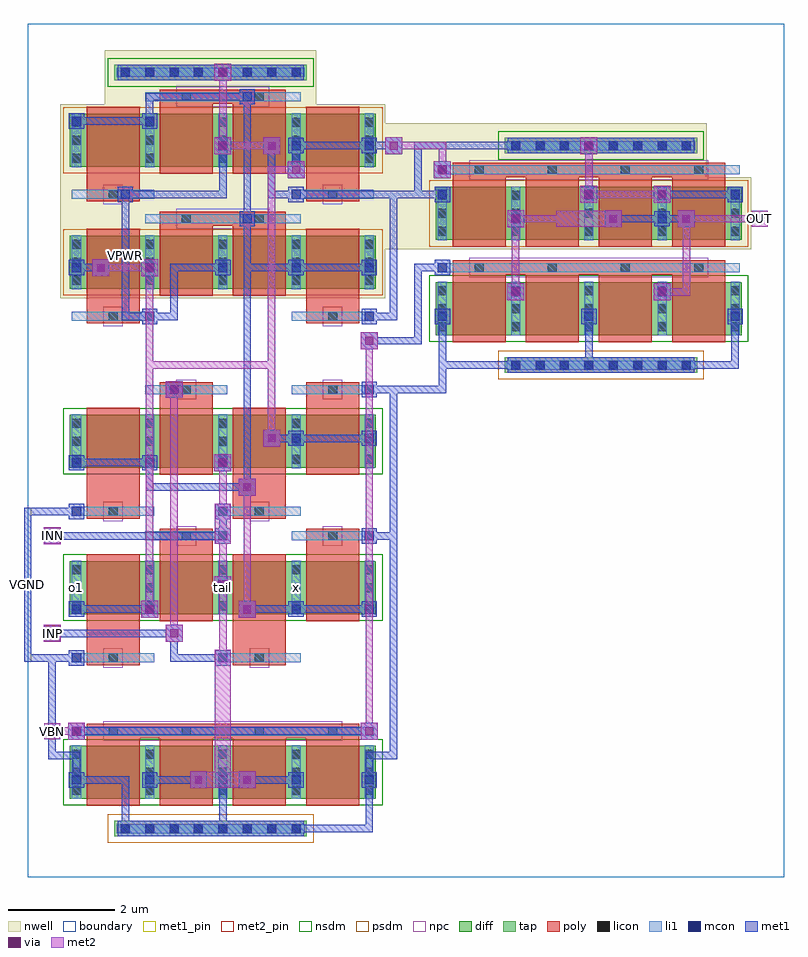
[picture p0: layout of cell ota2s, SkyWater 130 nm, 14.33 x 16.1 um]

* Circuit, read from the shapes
.subckt ota2s INN INP OUT VBN VGND VPWR o1 tail x
XM1 tail VBN VGND VGND sky130_fd_pr__nfet_01v8 w=1 l=1 m=4
XM2 o1 VGND o1 VGND sky130_fd_pr__nfet_01v8 w=1 l=1 m=2
XM3 x VGND x VGND sky130_fd_pr__nfet_01v8 w=1 l=1 m=2
XM4 tail INN o1 VGND sky130_fd_pr__nfet_01v8 w=1 l=1 m=2
XM5 tail INP x VGND sky130_fd_pr__nfet_01v8 w=1 l=1 m=2
XM6 OUT VBN VGND VGND sky130_fd_pr__nfet_01v8 w=1 l=1 m=4
XM7 o1 VPWR o1 VPWR sky130_fd_pr__pfet_01v8 w=1 l=1 m=2
XM8 x VPWR x VPWR sky130_fd_pr__pfet_01v8 w=1 l=1 m=2
XM9 VPWR x o1 VPWR sky130_fd_pr__pfet_01v8 w=1 l=1 m=2
XM10 VPWR x x VPWR sky130_fd_pr__pfet_01v8 w=1 l=1 m=2
XM11 OUT o1 VPWR VPWR sky130_fd_pr__pfet_01v8 w=1 l=1 m=4
.ends

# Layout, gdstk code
import gdstk
lib = gdstk.Library(unit=1e-6, precision=1e-09)
def R(c, l, rs):  # rectangles x0, y0, x1, y1
    for r in rs: c.add(gdstk.rectangle(r[:2], r[2:], *l))
def A(c, l, x, y, w, h, nx, ny, dx, dy):  # array of equal rectangles
    R(c, l, [(x+i*dx, y+j*dy, x+i*dx+w, y+j*dy+h) for i in range(nx) for j in range(ny)])
nwell = (64, 20)
diff = (65, 20)
tap = (65, 44)
poly = (66, 20)
licon = (66, 44)
li1 = (67, 20)
mcon = (67, 44)
met1_pin = (68, 16)
met1 = (68, 20)
via = (68, 44)
met2_pin = (69, 16)
met2 = (69, 20)
nsdm = (93, 44)
psdm = (94, 20)
npc = (95, 20)
boundary = (235, 4)

ota2s = lib.new_cell('ota2s')
R(ota2s, nwell, [(0.615,10.92,6.745,11.84), (0.615,11.84,13.645,13.2), (0.615,13.2,12.805,14.22), (0.615,14.22,6.745,14.58), (1.455,14.58,5.445,15.6)])
R(ota2s, diff, [(0.795,1.485,6.565,2.485), (0.795,4.965,6.565,5.965), (0.795,7.725,6.565,8.725), (7.695,10.225,13.465,11.225), (0.795,11.1,6.565,12.1), (7.695,12.02,13.465,13.02), (0.795,13.4,6.565,14.4)])
R(ota2s, tap, [(1.635,0.775,5.265,1.065), (8.995,9.515,12.625,9.805), (8.995,13.655,12.625,13.945), (1.635,15.035,5.265,15.325)])
A(ota2s, poly, 1.11, 1.355, 1, 1.405, 4, 1, 1.38, 0)
A(ota2s, poly, 8.01, 10.095, 1, 1.405, 4, 1, 1.38, 0)
A(ota2s, poly, 8.01, 11.89, 1, 1.45, 4, 1, 1.38, 0)
R(ota2s, poly, [(1.11,2.625,6.25,2.895), (1.11,4.005,2.11,4.275), (3.87,4.005,4.87,4.275), (1.11,4.14,2.11,6.095), (3.87,4.14,4.87,6.095), (2.49,4.835,3.49,6.44), (5.25,4.835,6.25,6.44), (2.49,6.305,3.49,6.575), (5.25,6.305,6.25,6.575), (1.11,6.765,2.11,7.035), (3.87,6.765,4.87,7.035), (1.11,6.9,2.11,8.855), (3.87,6.9,4.87,8.855), (2.49,7.595,3.49,9.2), (5.25,7.595,6.25,9.2), (2.49,9.065,3.49,9.335), (5.25,9.065,6.25,9.335), (1.11,10.445,2.11,10.715), (5.25,10.445,6.25,10.715), (1.11,10.58,2.11,12.23), (5.25,10.58,6.25,12.23), (2.49,10.97,3.49,12.42), (3.87,10.97,4.87,12.42), (8.01,11.365,13.15,11.635), (2.49,12.285,4.87,12.555), (1.11,12.745,2.11,13.015), (5.25,12.745,6.25,13.015), (1.11,12.88,2.11,14.53), (5.25,12.88,6.25,14.53), (8.01,13.205,13.15,13.475), (2.49,13.27,3.49,14.72), (3.87,13.27,4.87,14.72), (2.49,14.585,4.87,14.855)])
A(ota2s, licon, 1.755, 0.835, 0.17, 0.17, 8, 2, 0.46, 14.26)
A(ota2s, licon, 0.835, 1.56, 0.17, 0.17, 5, 3, 1.38, 0.34)
A(ota2s, licon, 1.525, 2.675, 0.17, 0.17, 4, 1, 1.38, 0)
A(ota2s, licon, 0.835, 5.04, 0.17, 0.17, 5, 3, 1.38, 0.34)
A(ota2s, licon, 0.835, 7.8, 0.17, 0.17, 5, 3, 1.38, 0.34)
A(ota2s, licon, 9.115, 9.575, 0.17, 0.17, 8, 2, 0.46, 4.14)
A(ota2s, licon, 7.735, 10.3, 0.17, 0.17, 5, 3, 1.38, 0.34)
A(ota2s, licon, 0.835, 11.175, 0.17, 0.17, 5, 3, 1.38, 0.34)
A(ota2s, licon, 8.425, 11.415, 0.17, 0.17, 4, 2, 1.38, 1.84)
A(ota2s, licon, 7.735, 12.095, 0.17, 0.17, 5, 3, 1.38, 0.34)
A(ota2s, licon, 0.835, 13.475, 0.17, 0.17, 5, 3, 1.38, 0.34)
R(ota2s, licon, [(1.525,4.055,1.695,4.225), (4.285,4.055,4.455,4.225), (2.905,6.355,3.075,6.525), (5.665,6.355,5.835,6.525), (1.525,6.815,1.695,6.985), (4.285,6.815,4.455,6.985), (2.905,9.115,3.075,9.285), (5.665,9.115,5.835,9.285), (1.525,10.495,1.695,10.665), (5.665,10.495,5.835,10.665), (2.905,12.335,3.075,12.505), (4.285,12.335,4.455,12.505), (1.525,12.795,1.695,12.965), (5.665,12.795,5.835,12.965), (2.905,14.635,3.075,14.805), (4.285,14.635,4.455,14.805)])
A(ota2s, li1, 0.835, 1.48, 0.17, 1.01, 5, 2, 1.38, 3.48)
A(ota2s, li1, 0.835, 7.72, 0.17, 1.01, 5, 2, 1.38, 3.375)
A(ota2s, li1, 7.735, 10.22, 0.17, 1.01, 5, 2, 1.38, 1.795)
A(ota2s, li1, 0.835, 13.395, 0.17, 1.01, 5, 1, 1.38, 0)
R(ota2s, li1, [(1.675,0.835,5.225,1.005), (0.835,2.675,6.525,2.845), (0.835,4.055,2.385,4.225), (3.595,4.055,5.145,4.225), (2.215,6.355,3.765,6.525), (4.975,6.355,6.525,6.525), (0.835,6.815,2.385,6.985), (3.595,6.815,5.145,6.985), (2.215,9.115,3.765,9.285), (4.975,9.115,6.525,9.285), (9.035,9.575,12.585,9.745), (0.835,10.495,2.385,10.665), (4.975,10.495,6.525,10.665), (7.735,11.415,13.425,11.585), (2.215,12.335,5.145,12.505), (0.835,12.795,2.385,12.965), (4.975,12.795,6.525,12.965), (7.735,13.255,13.425,13.425), (9.035,13.715,12.585,13.885), (2.215,14.635,5.145,14.805), (1.675,15.095,5.225,15.265)])
A(ota2s, mcon, 1.755, 0.835, 0.17, 0.17, 8, 2, 0.46, 14.26)
A(ota2s, mcon, 0.835, 1.755, 0.17, 0.17, 5, 1, 1.38, 0)
A(ota2s, mcon, 0.835, 7.735, 0.17, 0.17, 3, 1, 1.38, 0)
A(ota2s, mcon, 9.115, 9.575, 0.17, 0.17, 8, 2, 0.46, 4.14)
A(ota2s, mcon, 7.735, 10.495, 0.17, 0.17, 3, 1, 2.76, 0)
A(ota2s, mcon, 0.835, 11.415, 0.17, 0.17, 6, 1, 1.38, 0)
A(ota2s, mcon, 4.975, 12.795, 0.17, 0.17, 4, 1, 2.76, 0)
A(ota2s, mcon, 3.595, 13.715, 0.17, 0.17, 3, 1, 1.38, 0)
R(ota2s, mcon, [(0.835,2.675,1.005,2.845), (0.835,4.055,1.005,4.225), (3.595,4.055,3.765,4.225), (0.835,4.975,1.005,5.145), (2.215,4.975,2.385,5.145), (4.975,4.975,5.145,5.145), (6.355,4.975,6.525,5.145), (3.595,5.435,3.765,5.605), (3.595,6.355,3.765,6.525), (6.355,6.355,6.525,6.525), (0.835,6.815,1.005,6.985), (3.595,6.815,3.765,6.985), (4.975,8.195,5.145,8.365), (6.355,8.195,6.525,8.365), (2.675,9.115,2.845,9.285), (6.355,9.115,6.525,9.285), (2.215,10.495,2.385,10.665), (6.355,10.495,6.525,10.665), (9.115,10.955,9.285,11.125), (11.875,10.955,12.045,11.125), (4.055,12.335,4.225,12.505), (9.115,12.335,9.285,12.505), (11.875,12.335,12.045,12.505), (1.755,12.795,1.925,12.965), (7.735,13.255,7.905,13.425), (0.835,14.175,1.005,14.345), (2.215,14.175,2.385,14.345), (4.055,14.635,4.225,14.805)])
R(ota2s, met1_pin, [(-0.07,4.07,0.07,6.97), (1.77,10.51,1.91,12.95)])
A(ota2s, met1, 0.775, 1.695, 0.29, 0.29, 5, 1, 1.38, 0)
A(ota2s, met1, 4.99, 4.99, 1.52, 0.14, 1, 3, 0, 3.22)
A(ota2s, met1, 0.775, 7.675, 0.29, 0.29, 3, 1, 1.38, 0)
A(ota2s, met1, 7.675, 10.435, 0.29, 0.29, 3, 1, 2.76, 0)
A(ota2s, met1, 0.775, 11.355, 0.29, 0.29, 6, 1, 1.38, 0)
A(ota2s, met1, 4.915, 12.735, 0.29, 0.29, 4, 1, 2.76, 0)
A(ota2s, met1, 3.535, 13.655, 0.29, 0.29, 3, 1, 1.38, 0)
R(ota2s, met1, [(1.695,0.775,5.205,1.065), (1.77,0.85,1.91,0.99), (1.77,0.85,1.91,1.91), (1.77,0.85,3.75,0.99), (3.61,0.85,6.51,0.99), (3.61,0.85,3.75,1.91), (6.37,0.85,6.51,1.91), (3.06,1.68,3.38,2), (3.98,1.68,4.3,2), (0.85,1.77,1.91,1.91), (0.85,1.77,0.99,2.37), (2.23,1.77,3.29,1.91), (4.07,1.77,5.13,1.91), (6.37,1.77,6.51,2.37), (0.39,2.23,0.99,2.37), (0.39,2.23,0.53,4.21), (6.37,2.23,6.97,2.37), (6.83,2.23,6.97,6.51), (0.76,2.6,1.08,2.92), (6.28,2.6,6.6,2.92), (0.775,2.615,1.065,2.905), (0.85,2.69,6.51,2.83), (0.775,3.995,1.065,4.285), (3.535,3.995,3.825,4.285), (-0.07,4.07,0.53,4.21), (-0.07,4.07,0.07,6.97), (0.39,4.07,0.99,4.21), (2.69,4.07,3.75,4.21), (2.69,4.07,2.83,4.67), (0.3,4.44,0.62,4.76), (2.6,4.44,2.92,4.76), (0.39,4.53,2.83,4.67), (2.14,4.9,2.46,5.22), (3.98,4.9,4.3,5.22), (0.775,4.915,1.065,5.205), (2.155,4.915,2.445,5.205), (4.915,4.915,5.205,5.205), (6.295,4.915,6.585,5.205), (0.85,4.99,2.37,5.13), (4.07,4.99,5.13,5.13), (3.52,5.36,3.84,5.68), (3.535,5.375,3.825,5.665), (0.3,6.28,0.62,6.6), (3.535,6.295,3.825,6.585), (6.295,6.295,6.585,6.585), (0.39,6.37,3.75,6.51), (3.61,6.37,3.75,6.97), (6.37,6.37,6.97,6.51), (6.83,6.37,6.97,9.27), (0.775,6.755,1.065,7.045), (3.535,6.755,3.825,7.045), (-0.07,6.83,0.99,6.97), (3.98,7.2,4.3,7.52), (2.23,7.29,4.21,7.43), (2.23,7.29,2.37,7.89), (4.07,7.29,4.21,12.49), (3.52,7.66,3.84,7.98), (0.85,7.75,2.37,7.89), (4.44,8.12,4.76,8.44), (4.915,8.135,5.205,8.425), (6.295,8.135,6.585,8.425), (4.53,8.21,5.13,8.35), (2.6,9.04,2.92,9.36), (2.615,9.055,2.905,9.345), (6.295,9.055,6.585,9.345), (6.37,9.13,6.97,9.27), (6.83,9.13,7.89,9.27), (7.75,9.13,7.89,10.65), (9.055,9.515,12.565,9.805), (7.75,9.59,9.27,9.73), (9.13,9.59,9.27,9.73), (9.13,9.59,10.65,9.73), (10.51,9.59,13.41,9.73), (10.51,9.59,10.65,10.65), (13.27,9.59,13.41,10.65), (6.28,9.96,6.6,10.28), (6.37,10.05,7.43,10.19), (7.29,10.05,7.43,11.57), (2.155,10.435,2.445,10.725), (6.295,10.435,6.585,10.725), (1.77,10.51,2.37,10.65), (1.77,10.51,1.91,12.95), (2.23,10.51,2.83,10.65), (2.69,10.51,2.83,11.57), (6.37,10.51,6.97,10.65), (6.83,10.51,6.97,12.95), (9.04,10.88,9.36,11.2), (11.8,10.88,12.12,11.2), (9.055,10.895,9.345,11.185), (11.815,10.895,12.105,11.185), (1.22,11.34,1.54,11.66), (2.14,11.34,2.46,11.66), (0.85,11.43,1.45,11.57), (2.69,11.43,3.75,11.57), (4.07,11.43,5.13,11.57), (7.29,11.43,7.89,11.57), (9.04,12.26,9.36,12.58), (10.88,12.26,11.2,12.58), (12.26,12.26,12.58,12.58), (3.995,12.275,4.285,12.565), (9.055,12.275,9.345,12.565), (11.815,12.275,12.105,12.565), (4.07,12.35,4.21,14.79), (10.97,12.35,12.03,12.49), (11.89,12.35,12.49,12.49), (10.42,12.72,10.74,13.04), (11.8,12.72,12.12,13.04), (1.695,12.735,1.985,13.025), (1.77,12.81,3.75,12.95), (3.61,12.81,3.75,13.87), (4.53,12.81,5.13,12.95), (4.53,12.81,4.67,13.87), (4.99,12.81,7.89,12.95), (7.29,12.81,7.43,13.87), (11.89,12.81,13.41,12.95), (4.9,13.18,5.22,13.5), (7.66,13.18,7.98,13.5), (7.675,13.195,7.965,13.485), (4.99,13.27,5.13,13.87), (3.52,13.64,3.84,13.96), (4.44,13.64,4.76,13.96), (6.74,13.64,7.06,13.96), (10.42,13.64,10.74,13.96), (9.055,13.655,12.565,13.945), (4.99,13.73,6.51,13.87), (6.37,13.73,6.97,13.87), (7.29,13.73,9.27,13.87), (9.13,13.73,9.27,13.87), (9.13,13.73,10.65,13.87), (0.775,14.115,1.065,14.405), (2.155,14.115,2.445,14.405), (0.85,14.19,2.37,14.33), (2.23,14.19,2.37,14.79), (3.995,14.575,4.285,14.865), (2.23,14.65,4.21,14.79), (3.52,15.02,3.84,15.34), (1.695,15.035,5.205,15.325), (3.61,15.11,3.75,15.25)])
R(ota2s, via, [(3.145,1.765,3.295,1.915), (4.065,1.765,4.215,1.915), (0.845,2.685,0.995,2.835), (6.365,2.685,6.515,2.835), (0.385,4.525,0.535,4.675), (2.685,4.525,2.835,4.675), (2.225,4.985,2.375,5.135), (4.065,4.985,4.215,5.135), (3.605,5.445,3.755,5.595), (0.385,6.365,0.535,6.515), (4.065,7.285,4.215,7.435), (3.605,7.745,3.755,7.895), (4.525,8.205,4.675,8.355), (2.685,9.125,2.835,9.275), (6.365,10.045,6.515,10.195), (9.125,10.965,9.275,11.115), (11.885,10.965,12.035,11.115), (1.305,11.425,1.455,11.575), (2.225,11.425,2.375,11.575), (9.125,12.345,9.275,12.495), (10.965,12.345,11.115,12.495), (12.345,12.345,12.495,12.495), (10.505,12.805,10.655,12.955), (11.885,12.805,12.035,12.955), (4.985,13.265,5.135,13.415), (7.745,13.265,7.895,13.415), (3.605,13.725,3.755,13.875), (4.525,13.725,4.675,13.875), (6.825,13.725,6.975,13.875), (10.505,13.725,10.655,13.875), (3.605,15.105,3.755,15.255)])
A(ota2s, met2_pin, 0.31, 2.61, 0.3, 0.3, 1, 3, 0, 1.84)
R(ota2s, met2_pin, [(13.65,12.27,13.95,12.57)])
A(ota2s, met2, 0.31, 2.61, 0.3, 0.3, 1, 3, 0, 1.84)
A(ota2s, met2, 0.39, 2.69, 0.14, 0.14, 1, 3, 0, 1.84)
R(ota2s, met2, [(3.06,1.68,3.38,2), (3.98,1.68,4.3,2), (3.07,1.69,3.83,1.99), (3.53,1.69,3.83,4.29), (3.53,1.69,4.29,1.99), (0.76,2.6,1.08,2.92), (6.28,2.6,6.6,2.92), (0.39,2.69,0.99,2.83), (6.37,2.69,6.51,10.19), (3.61,4.07,3.75,5.59), (0.3,4.44,0.62,4.76), (2.6,4.44,2.92,4.76), (2.69,4.53,2.83,9.27), (2.14,4.9,2.46,5.22), (3.98,4.9,4.3,5.22), (2.23,4.99,2.37,11.57), (4.07,4.99,4.21,7.43), (3.52,5.36,3.84,5.68), (3.61,5.45,3.75,6.51), (0.3,6.28,0.62,6.6), (3.53,6.29,3.83,7.05), (3.61,6.83,3.75,7.89), (3.98,7.2,4.3,7.52), (3.52,7.66,3.84,7.98), (4.44,8.12,4.76,8.44), (4.53,8.21,4.67,9.73), (2.6,9.04,2.92,9.36), (2.23,9.59,4.67,9.73), (4.53,9.59,4.67,13.41), (6.28,9.96,6.6,10.28), (9.04,10.88,9.36,11.2), (11.8,10.88,12.12,11.2), (9.13,10.97,9.27,12.49), (11.89,10.97,12.49,11.11), (12.35,10.97,12.49,12.49), (1.22,11.34,1.54,11.66), (2.14,11.34,2.46,11.66), (1.31,11.43,2.37,11.57), (9.04,12.26,9.36,12.58), (10.88,12.26,11.2,12.58), (12.26,12.26,12.58,12.58), (9.97,12.27,11.19,12.57), (13.65,12.27,13.95,12.57), (9.13,12.35,10.19,12.49), (12.35,12.35,13.87,12.49), (13.73,12.35,13.87,12.49), (10.42,12.72,10.74,13.04), (11.8,12.72,12.12,13.04), (10.51,12.81,10.65,13.87), (10.51,12.81,12.03,12.95), (4.9,13.18,5.22,13.5), (7.66,13.18,7.98,13.5), (4.53,13.27,5.13,13.41), (7.75,13.27,7.89,13.87), (3.52,13.64,3.84,13.96), (4.44,13.64,4.76,13.96), (6.74,13.64,7.06,13.96), (10.42,13.64,10.74,13.96), (3.61,13.73,3.75,15.25), (3.61,13.73,4.67,13.87), (6.83,13.73,7.89,13.87), (3.52,15.02,3.84,15.34)])
R(ota2s, nsdm, [(0.67,1.36,6.69,2.61), (0.67,4.84,6.69,6.09), (0.67,7.6,6.69,8.85), (7.57,10.1,13.59,11.35), (8.87,13.53,12.75,14.07), (1.51,14.91,5.39,15.45)])
R(ota2s, psdm, [(1.51,0.65,5.39,1.19), (8.87,9.39,12.75,9.93), (0.67,10.975,6.69,12.225), (7.57,11.895,13.59,13.145), (0.67,13.275,6.69,14.525)])
R(ota2s, npc, [(1.425,2.575,5.935,2.945), (1.425,3.955,1.795,4.325), (4.185,3.955,4.555,4.325), (2.805,6.255,3.175,6.625), (5.565,6.255,5.935,6.625), (1.425,6.715,1.795,7.085), (4.185,6.715,4.555,7.085), (2.805,9.015,3.175,9.385), (5.565,9.015,5.935,9.385), (1.425,10.395,1.795,10.765), (5.565,10.395,5.935,10.765), (8.325,11.315,12.835,11.685), (2.805,12.235,4.555,12.605), (1.425,12.695,1.795,13.065), (5.565,12.695,5.935,13.065), (8.325,13.155,12.835,13.525), (2.805,14.535,4.555,14.905)])
R(ota2s, boundary, [(0,0,14.26,16.1)])
ota2s.add(gdstk.Label('o1', (0.92,5.465), layer=67, texttype=5))
ota2s.add(gdstk.Label('tail', (3.68,5.465), layer=67, texttype=5))
ota2s.add(gdstk.Label('x', (5.06,5.465), layer=67, texttype=5))
ota2s.add(gdstk.Label('VPWR', (1.84,11.73), layer=68, texttype=5))
ota2s.add(gdstk.Label('VGND', (0,5.52), layer=68, texttype=5))
ota2s.add(gdstk.Label('INP', (0.46,4.6), layer=69, texttype=5))
ota2s.add(gdstk.Label('INN', (0.46,6.44), layer=69, texttype=5))
ota2s.add(gdstk.Label('VBN', (0.46,2.76), layer=69, texttype=5))
ota2s.add(gdstk.Label('OUT', (13.8,12.42), layer=69, texttype=5))
ota2s.add(gdstk.Label('VPWR', (1.84,11.73), layer=68, texttype=16))
ota2s.add(gdstk.Label('VGND', (0,5.52), layer=68, texttype=16))
ota2s.add(gdstk.Label('INP', (0.46,4.6), layer=69, texttype=16))
ota2s.add(gdstk.Label('INN', (0.46,6.44), layer=69, texttype=16))
ota2s.add(gdstk.Label('VBN', (0.46,2.76), layer=69, texttype=16))
ota2s.add(gdstk.Label('OUT', (13.8,12.42), layer=69, texttype=16))

lib.write_gds('ota2s.gds')
